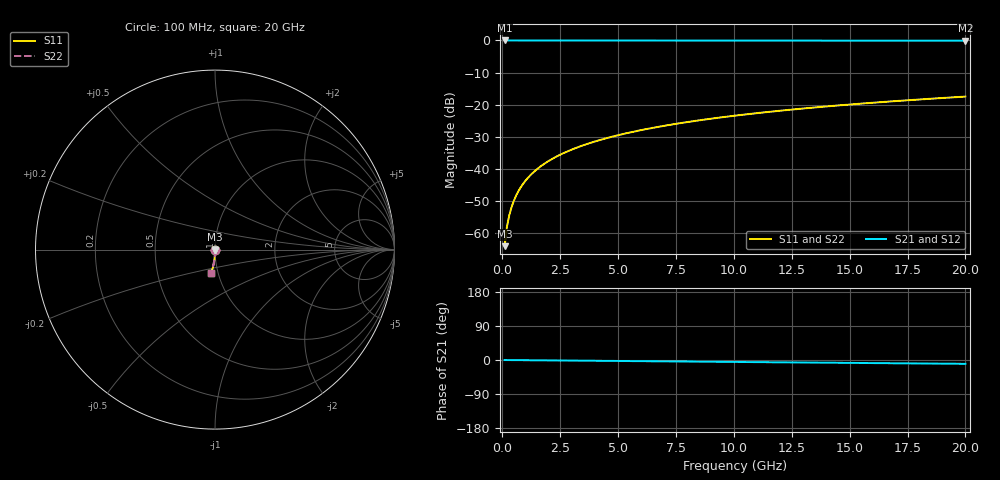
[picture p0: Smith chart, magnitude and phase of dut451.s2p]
! Touchstone file exported from HFSS 2026.1.0
!  File:  C:/ffzhzh/LocalFiles/Ansys_Project_Files/temp_train_TSV_451_1783021737_51716.aedt
!  Generated:  03:50:14 AM Jul  3, 2026
!  Design:  TSV
!  Project:  temp_train_TSV_451_1783021737_51716
! Variables:
!  h_bsmrdl = 2um
!  h_ox = 20um
!  h_rdl = 5um
!  h_sub = 70.57um
!  h_tmrdl = 5um
!  h_tsv = 70.57um
!  h_via = 3um
!  l_bsmrdl = 300um
!  l_sub = 429.72um
!  l_tmrdl = 200um
!  m_sub = 200um
!  pitch = 33.21um
!  r_tsv = 14.86um
!  s_tmrdl = 10um
!  w_bsmrdl = 18um
!  w_sub = 500um
!  w_tmrdl = 12um
!  x_tsv_center1 = 206um
!  x_tsv_center2 = 524um
!  x_tsv_center3 = 736um
!  x_tsv_center4 = 1054um
!  x_tsv_center5 = 1266um
!  x_tsv_center6 = 1584um
# GHz S MA R 50.000000
! Terminal data exported
! Port[1] = TSV1_1_T1
! Port[2] = TSV1_1_T2
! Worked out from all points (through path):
!   200 points, 100 MHz to 20 GHz, reference 50 ohm
!   highest |S21| = 0.00 dB at 100 MHz (marker M1); lowest = -0.1 dB at 20 GHz (marker M2)
!   group delay of S21, straight-line fit = 1.41 ps
!   lowest |S11| = -64.1 dB at 100 MHz (marker M3), VSWR 1.00, Z = 50 - j0.0619 ohm
!   |S11| at or under -10 dB: start of sweep to end of sweep
!   |S22| runs from -64.1 to -17.5 dB; largest |S21 - S12| = 2.1e-15
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0.1  0.0006244 -82.5  0.9999 -0.1  0.9999 -0.1  0.0006244 -82.5
! Gamma 0 0 0 0
! Port Impedance 50 0 50 0
0.2  0.001249 -85.4  0.9999 -0.1  0.9999 -0.1  0.001249 -85.4
0.3  0.001884 -86.2  0.9999 -0.2  0.9999 -0.2  0.001884 -86.2
0.4  0.002531 -86.5  0.9998 -0.2  0.9998 -0.2  0.002531 -86.5
0.5  0.003186 -86.8  0.9998 -0.3  0.9998 -0.3  0.003186 -86.8
0.7  0.004515 -87.2  0.9997 -0.4  0.9997 -0.4  0.004515 -87.2
0.8  0.005184 -87.4  0.9997 -0.4  0.9997 -0.4  0.005184 -87.4
1  0.006527 -87.8  0.9997 -0.5  0.9997 -0.5  0.006527 -87.8
1.2  0.007871 -88.2  0.9996 -0.6  0.9996 -0.6  0.007871 -88.2
1.4  0.009215 -88.5  0.9996 -0.7  0.9996 -0.7  0.009215 -88.5
1.7  0.01123 -88.9  0.9995 -0.9  0.9995 -0.9  0.01123 -88.9
2  0.01325 -89.2  0.9995 -1.0  0.9995 -1.0  0.01325 -89.2
2.7  0.01795 -89.9  0.9994 -1.4  0.9994 -1.4  0.01795 -89.9
3.5  0.02332 -90.5  0.9992 -1.8  0.9992 -1.8  0.02332 -90.5
4.2  0.02803 -91.0  0.999 -2.2  0.999 -2.2  0.02803 -91.0
5  0.03341 -91.5  0.9988 -2.6  0.9988 -2.6  0.03341 -91.5
6.8  0.04554 -92.5  0.9982 -3.5  0.9982 -3.5  0.04554 -92.5
8.3  0.05564 -93.4  0.9976 -4.2  0.9976 -4.2  0.05564 -93.4
10.1  0.06774 -94.4  0.9968 -5.2  0.9968 -5.2  0.06774 -94.4
13.4  0.08984 -96.1  0.9949 -6.8  0.9949 -6.8  0.08984 -96.1
16.7  0.1118 -97.8  0.9925 -8.5  0.9925 -8.5  0.1118 -97.8
20  0.1336 -99.5  0.9897 -10.1  0.9897 -10.1  0.1336 -99.5
